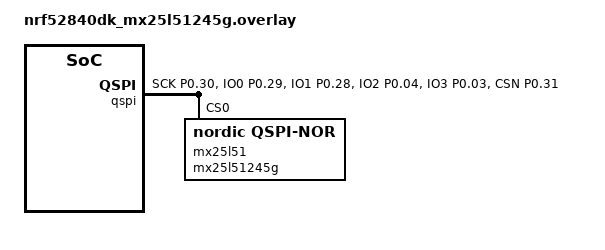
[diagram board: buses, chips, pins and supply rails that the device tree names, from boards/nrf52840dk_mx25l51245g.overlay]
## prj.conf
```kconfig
CONFIG_TEST=y
CONFIG_ZTEST=y
CONFIG_ZTEST_NEW_API=y
CONFIG_FLASH=y
CONFIG_MAIN_STACK_SIZE=2048
```

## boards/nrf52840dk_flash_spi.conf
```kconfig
CONFIG_SPI=y
CONFIG_SPI_NOR=y
```

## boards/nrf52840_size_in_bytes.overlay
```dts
/*
 * Copyright (c) 2022, Nordic Semiconductor ASA
 *
 * SPDX-License-Identifier: Apache-2.0
 */

&mx25r64 {
        /delete-property/ size;
        size-in-bytes = <8388608>;
};
```

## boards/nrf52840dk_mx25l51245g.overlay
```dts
/*
 * Copyright (c) 2022 Nordic Semiconductor ASA
 *
 * SPDX-License-Identifier: Apache-2.0
 */

/ {
	aliases {
		spi-flash0 = &mx25l51;
	};
};

/delete-node/ &mx25r64;

&pinctrl {
	qspi_default: qspi_default {
		group1 {
			psels = <NRF_PSEL(QSPI_SCK, 0, 30)>,
				<NRF_PSEL(QSPI_IO0, 0, 29)>,
				<NRF_PSEL(QSPI_IO1, 0, 28)>,
				<NRF_PSEL(QSPI_IO2, 0, 04)>,
				<NRF_PSEL(QSPI_IO3, 0, 03)>,
				<NRF_PSEL(QSPI_CSN, 0, 31)>;
		};
	};
	qspi_sleep: qspi_sleep {
		group1 {
			psels = <NRF_PSEL(QSPI_SCK, 0, 30)>,
				<NRF_PSEL(QSPI_IO0, 0, 29)>,
				<NRF_PSEL(QSPI_IO1, 0, 28)>,
				<NRF_PSEL(QSPI_IO2, 0, 04)>,
				<NRF_PSEL(QSPI_IO3, 0, 03)>;
			low-power-enable;
		};
		group2 {
			psels = <NRF_PSEL(QSPI_CSN, 0, 31)>;
			low-power-enable;
			bias-pull-up;
		};
	};
};

&qspi {
	pinctrl-0 = <&qspi_default>;
	pinctrl-1 = <&qspi_sleep>;
	pinctrl-names = "default", "sleep";

	mx25l51: mx25l51245g@0 {
		compatible = "nordic,qspi-nor";
		reg = <0>;
		/* MX25L5145G supports only pp and pp4io */
		writeoc = "pp4io";
		/* MX25L5145G supports all readoc options */
		readoc = "read4io";
		sck-frequency = <2000000>;
		jedec-id = [c2 20 1A];
		sfdp-bfp = [
			e5 20 fb ff  1f ff ff ff  44 eb 08 6b  08 3b 04 bb
			fe ff ff ff  ff ff 00 ff  ff ff 44 eb  0c 20 0f 52
			10 d8 00 ff  d6 49 c5 00  81 df 04 e3  44 03 67 38
			30 b0 30 b0  f7 bd d5 5c  4a 9e 29 ff  f0 50 f9 85
		];
		size = <0x20000000>;
		has-dpd;
		t-enter-dpd = <10000>;
		t-exit-dpd = <30000>;
		enter-4byte-addr = <0x85>;
		address-size-32;
	};
};
```

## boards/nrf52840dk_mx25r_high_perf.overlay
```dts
/delete-node/ &qspi;

&spi2 {
	compatible = "nordic,nrf-spim";
	status = "okay";
	cs-gpios = <&gpio0 17 GPIO_ACTIVE_LOW>;

	mx25r64: mx25r6435f@0 {
		compatible = "jedec,spi-nor";
		reg = <0>;
		spi-max-frequency = <33000000>;
		jedec-id = [c2 28 17];
		sfdp-bfp = [
			e5 20 f1 ff  ff ff ff 03  44 eb 08 6b  08 3b 04 bb
			ee ff ff ff  ff ff 00 ff  ff ff 00 ff  0c 20 0f 52
			10 d8 00 ff  23 72 f5 00  82 ed 04 cc  44 83 68 44
			30 b0 30 b0  f7 c4 d5 5c  00 be 29 ff  f0 d0 ff ff
		];
		size = <67108864>;
		has-dpd;
		t-enter-dpd = <10000>;
		t-exit-dpd = <35000>;
		mxicy,mx25r-power-mode = "high-performance";
	};
};

/ {
	aliases {
		spi-flash0 = &mx25r64;
	};
};
```

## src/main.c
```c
/*
 * Copyright (c) 2020-2022 Nordic Semiconductor ASA
 *
 * SPDX-License-Identifier: Apache-2.0
 */

#include <zephyr/kernel.h>
#include <zephyr/ztest.h>
#include <zephyr/drivers/flash.h>
#include <zephyr/devicetree.h>
#include <zephyr/storage/flash_map.h>

#if defined(CONFIG_NORDIC_QSPI_NOR)
#define TEST_AREA_DEV_NODE	DT_INST(0, nordic_qspi_nor)
#elif defined(CONFIG_SPI_NOR)
#define TEST_AREA_DEV_NODE	DT_INST(0, jedec_spi_nor)
#elif defined(CONFIG_TRUSTED_EXECUTION_NONSECURE)
/* SoC embedded NVM */
#define TEST_AREA	slot1_ns_partition
#else
#define TEST_AREA	storage_partition
#endif

/* TEST_AREA is only defined for configurations that realy on
 * fixed-partition nodes.
 */
#ifdef TEST_AREA
#define TEST_AREA_OFFSET	FIXED_PARTITION_OFFSET(TEST_AREA)
#define TEST_AREA_SIZE		FIXED_PARTITION_SIZE(TEST_AREA)
#define TEST_AREA_MAX		(TEST_AREA_OFFSET + TEST_AREA_SIZE)
#define TEST_AREA_DEVICE	FIXED_PARTITION_DEVICE(TEST_AREA)

#elif defined(TEST_AREA_DEV_NODE)

#define TEST_AREA_DEVICE	DEVICE_DT_GET(TEST_AREA_DEV_NODE)
#define TEST_AREA_OFFSET	0xff000

#if DT_NODE_HAS_PROP(TEST_AREA_DEV_NODE, size_in_bytes)
#define TEST_AREA_MAX DT_PROP(TEST_AREA_DEV_NODE, size_in_bytes)
#else
#define TEST_AREA_MAX (DT_PROP(TEST_AREA_DEV_NODE, size) / 8)
#endif

#else
#error "Unsupported configuraiton"
#endif

#define EXPECTED_SIZE	512
#define CANARY		0xff

static const struct device *const flash_dev = TEST_AREA_DEVICE;
static struct flash_pages_info page_info;
static uint8_t __aligned(4) expected[EXPECTED_SIZE];

static void *flash_driver_setup(void)
{
	int rc;

	zassert_true(device_is_ready(flash_dev));

	const struct flash_parameters *flash_params =
			flash_get_parameters(flash_dev);

	/* For tests purposes use page (in nrf_qspi_nor page = 64 kB) */
	flash_get_page_info_by_offs(flash_dev, TEST_AREA_OFFSET,
				    &page_info);

	/* Check if test region is not empty */
	uint8_t buf[EXPECTED_SIZE];

	rc = flash_read(flash_dev, TEST_AREA_OFFSET,
			buf, EXPECTED_SIZE);
	zassert_equal(rc, 0, "Cannot read flash");

	/* Fill test buffer with random data */
	for (int i = 0; i < EXPECTED_SIZE; i++) {
		expected[i] = i;
	}

	/* Check if tested region fits in flash */
	zassert_true((TEST_AREA_OFFSET + EXPECTED_SIZE) <= TEST_AREA_MAX,
		     "Test area exceeds flash size");

	/* Check if flash is cleared */
	bool is_buf_clear = true;

	for (off_t i = 0; i < EXPECTED_SIZE; i++) {
		if (buf[i] != flash_params->erase_value) {
			is_buf_clear = false;
			break;
		}
	}

	if (!is_buf_clear) {
		/* Erase a nb of pages aligned to the EXPECTED_SIZE */
		rc = flash_erase(flash_dev, page_info.start_offset,
				(page_info.size *
				((EXPECTED_SIZE + page_info.size - 1)
				/ page_info.size)));

		zassert_equal(rc, 0, "Flash memory not properly erased");
	}

	return NULL;
}

ZTEST(flash_driver, test_read_unaligned_address)
{
	int rc;
	uint8_t buf[EXPECTED_SIZE];

	rc = flash_write(flash_dev,
			 page_info.start_offset,
			 expected, EXPECTED_SIZE);
	zassert_equal(rc, 0, "Cannot write to flash");

	/* read buffer length*/
	for (off_t len = 0; len < 25; len++) {
		/* address offset */
		for (off_t ad_o = 0; ad_o < 4; ad_o++) {
			/* buffer offset; leave space for buffer guard */
			for (off_t buf_o = 1; buf_o < 5; buf_o++) {
				/* buffer overflow protection */
				buf[buf_o - 1] = CANARY;
				buf[buf_o + len] = CANARY;
				memset(buf + buf_o, 0, len);
				rc = flash_read(flash_dev,
						page_info.start_offset + ad_o,
						buf + buf_o, len);
				zassert_equal(rc, 0, "Cannot read flash");
				zassert_equal(memcmp(buf + buf_o,
						expected + ad_o,
						len),
					0, "Flash read failed at len=%d, "
					"ad_o=%d, buf_o=%d", len, ad_o, buf_o);
				/* check buffer guards */
				zassert_equal(buf[buf_o - 1], CANARY,
					"Buffer underflow at len=%d, "
					"ad_o=%d, buf_o=%d", len, ad_o, buf_o);
				zassert_equal(buf[buf_o + len], CANARY,
					"Buffer overflow at len=%d, "
					"ad_o=%d, buf_o=%d", len, ad_o, buf_o);
			}
		}
	}
}

ZTEST_SUITE(flash_driver, NULL, flash_driver_setup, NULL, NULL, NULL);
```
